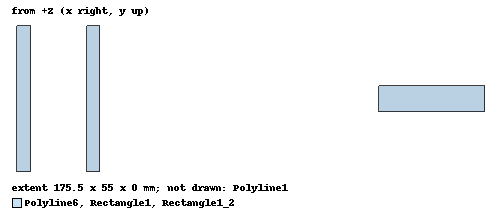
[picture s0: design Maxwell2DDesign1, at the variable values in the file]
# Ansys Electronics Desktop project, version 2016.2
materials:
  vacuum: permittivity=1

design Maxwell2DDesign1 (Maxwell 2D, Magnetostatic, XY geometry, model units mm)
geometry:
  Polyline1 [vacuum] = polyline(z=0mm, xy in mm: (100, 300) (100, 200) (200, 200) (200, 240) (180, 240) (180, 220) (120, 220) (120, 280) (180, 280) (180, 260) (200, 260) (200, 280) (200, 300) (100, 300), closed, covered)
  Polyline5 = polyline((230mm, 255mm, 0mm) (230mm, 245mm, 0mm))
  Polyline6 [vacuum] = polyline(z=0mm, xy in mm: (230, 255) (270, 255) (270, 245) (230, 245) (230, 255), closed, covered)
  Rectangle1 [vacuum] = rectangle(corner=(120.5mm, 277.5mm, 0mm), x_size=5mm, y_size=-55mm)
  Rectangle1_2 [vacuum] = Rectangle1.duplicate_mirror(point=(110mm, 250mm, 0mm), normal=(-1mm, 0mm, 0mm))
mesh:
  initial mesh: MeshMethod=AnsoftClassic
